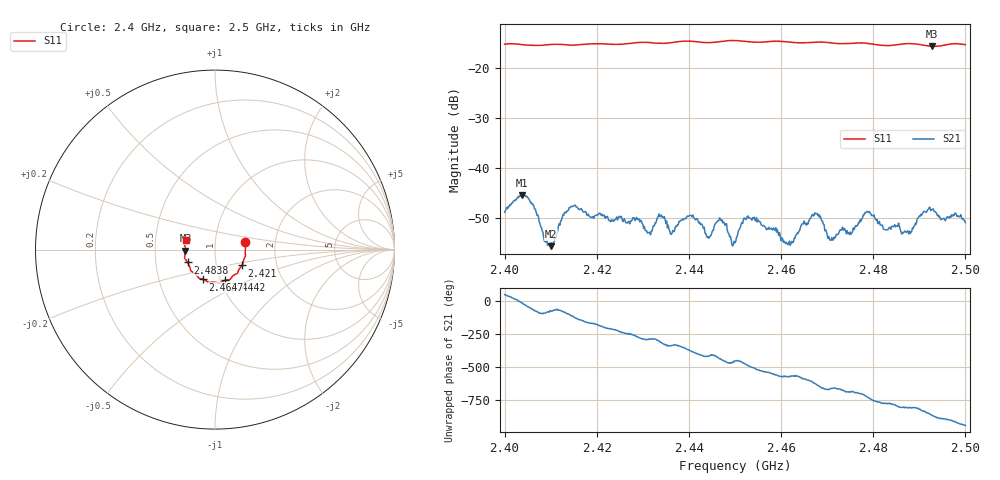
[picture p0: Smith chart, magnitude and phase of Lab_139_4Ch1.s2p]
# Hz S RI R 50
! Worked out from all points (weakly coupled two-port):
!   601 points, 2.4 GHz to 2.5 GHz, reference 50 ohm
!   highest |S21| = -45.49 dB at 2.4037 GHz (marker M1); lowest = -55.6 dB at 2.41 GHz (marker M2)
!   lowest |S11| = -15.6 dB at 2.4928 GHz (marker M3), VSWR 1.40, Z = 35.8 - j0.399 ohm
!   |S11| at or under -10 dB: start of sweep to end of sweep
!   S12 and S22 are empty: the file has one direction only
!   S11 on the Smith chart (normalised r, x): 2.4 GHz: 1.40, +0.12; 2.421 GHz: 1.33, -0.24; 2.4442 GHz: 1.05, -0.37; 2.4647 GHz: 0.83, -0.28; 2.4838 GHz: 0.73, -0.11; 2.5 GHz: 0.72, +0.08
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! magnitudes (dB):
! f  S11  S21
! 2.4 GHz  -15.2  -48.9
! 2.4037 GHz  -15.3  -45.5
! 2.41 GHz  -15.3  -55.6
! 2.4132 GHz  -15.3  -48.9
! 2.4167 GHz  -15.3  -48.2
! 2.421 GHz  -15.1  -49.5
! 2.4313 GHz  -14.9  -52.9
! 2.4333 GHz  -15.0  -49.8
! 2.4407 GHz  -14.6  -49.8
! 2.4442 GHz  -14.9  -53.7
! 2.4467 GHz  -14.7  -50.0
! 2.45 GHz  -14.5  -55.0
! 2.4525 GHz  -14.7  -50.2
! 2.4615 GHz  -14.8  -55.4
! 2.4647 GHz  -14.9  -51.2
! 2.4667 GHz  -14.8  -49.5
! 2.4708 GHz  -14.9  -54.5
! 2.4787 GHz  -15.0  -48.7
! 2.4833 GHz  -15.5  -52.1
! 2.4838 GHz  -15.5  -52.3
! 2.4928 GHz  -15.6  -48.3
! 2.5 GHz  -15.3  -50.9
